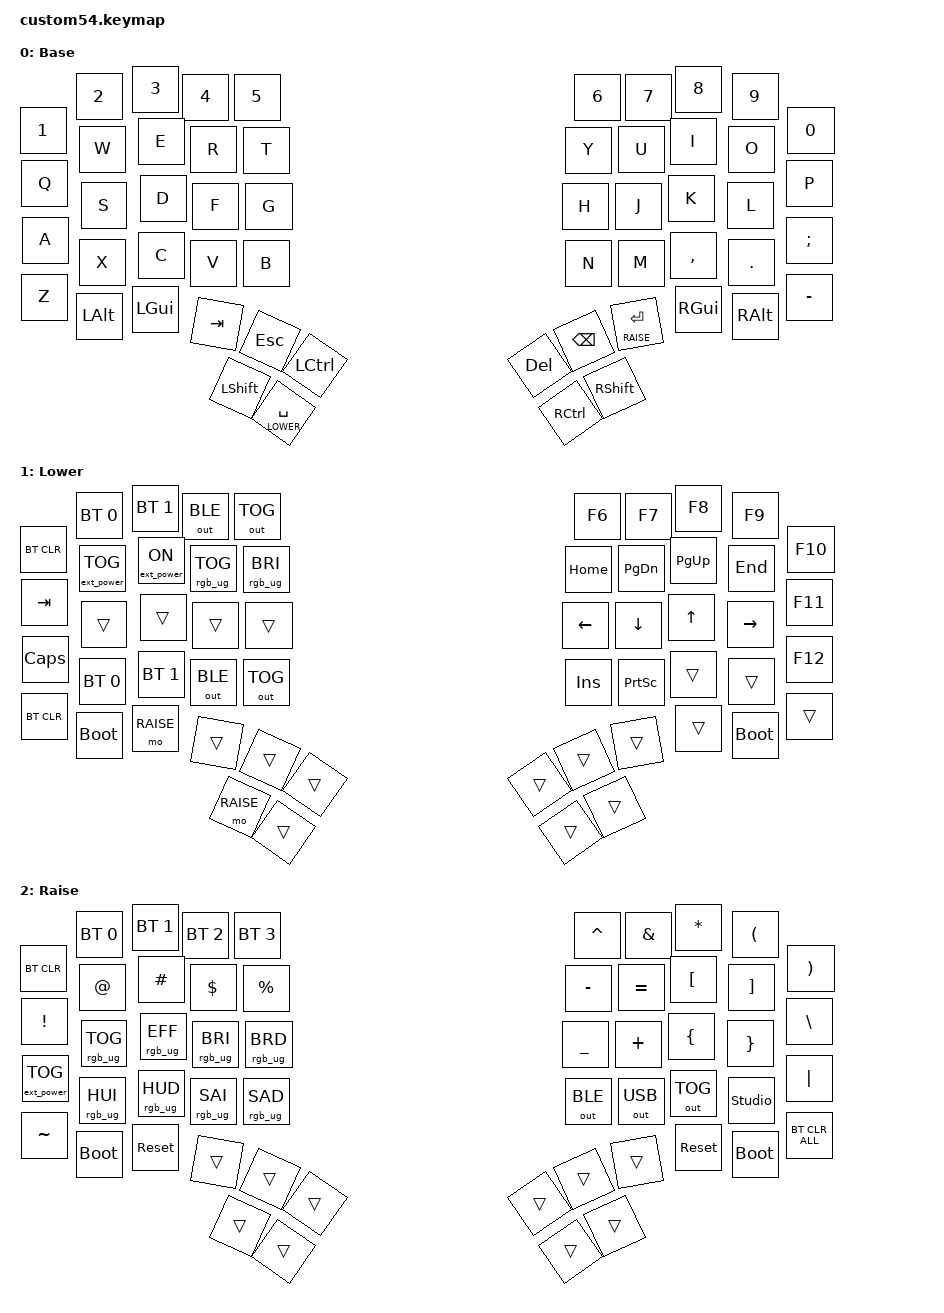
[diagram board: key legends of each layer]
#include <behaviors.dtsi>
#include <dt-bindings/zmk/keys.h>
#include <dt-bindings/zmk/bt.h>
#include <dt-bindings/zmk/rgb.h>
#include <dt-bindings/zmk/outputs.h>
#include <dt-bindings/zmk/ext_power.h>

#define DEFAULT 0
#define LOWER   1
#define RAISE   2

/ {
    combos {
        compatible = "zmk,combos";

        /* Combo nas duas pontas da fileira de numeros: 1 (pos 0) + 0 (pos 9) */
        combo_bootloader_num_ends {
            timeout-ms = <60>;
            key-positions = <0 9>;
            bindings = <&bootloader>;
        };

        /* Combo nas duas pontas da metade esquerda: 1 (pos 0) + 5 (pos 4) - para quando só a esquerda estiver plugada */
        combo_bootloader_left_num_ends {
            timeout-ms = <60>;
            key-positions = <0 4>;
            bindings = <&bootloader>;
        };
    };

    keymap {
        compatible = "zmk,keymap";

        default_layer {
            display-name = "Base";
            bindings = <
/* Row 0: Numbers */
&kp N1     &kp N2    &kp N3    &kp N4    &kp N5          &kp N6     &kp N7    &kp N8    &kp N9    &kp N0
/* Row 1: Top */
&kp Q      &kp W     &kp E     &kp R     &kp T           &kp Y      &kp U     &kp I     &kp O     &kp P
/* Row 2: Home */
&kp A      &kp S     &kp D     &kp F     &kp G           &kp H      &kp J     &kp K     &kp L     &kp SEMI
/* Row 3: Bottom */
&kp Z      &kp X     &kp C     &kp V     &kp B           &kp N      &kp M     &kp COMMA &kp DOT   &kp MINUS
/* Row 4: Extra bottom keys */
           &kp LALT  &kp LGUI                                       &kp RGUI  &kp RALT
/* Row 5: Thumb clusters */
&kp TAB    &kp ESC   &kp LCTRL &kp LSHFT &lt LOWER SPACE &lt RAISE RET &kp BSPC  &kp DEL   &kp RSHFT &kp RCTRL
            >;
        };

        lower_layer {
            display-name = "Lower";
            bindings = <
/* Row 0 */
&bt BT_CLR &bt BT_SEL 0    &bt BT_SEL 1    &out OUT_BLE    &out OUT_TOG      &kp F6     &kp F7    &kp F8    &kp F9    &kp F10
/* Row 1 */
&kp TAB    &ext_power EP_TOG &ext_power EP_ON &rgb_ug RGB_TOG &rgb_ug RGB_BRI   &kp HOME   &kp PG_DN &kp PG_UP &kp END   &kp F11
/* Row 2 */
&kp CAPS   &trans          &trans          &trans          &trans            &kp LEFT   &kp DOWN  &kp UP    &kp RIGHT &kp F12
/* Row 3 */
&bt BT_CLR &bt BT_SEL 0    &bt BT_SEL 1    &out OUT_BLE    &out OUT_TOG      &kp INS    &kp PSCRN &trans    &trans    &trans
/* Row 4 */
           &bootloader     &mo RAISE                                                    &trans     &bootloader
/* Row 5 */
&trans     &trans          &trans          &mo RAISE       &trans            &trans     &trans    &trans    &trans    &trans
            >;
        };

        raise_layer {
            display-name = "Raise";
            bindings = <
/* Row 0 */
&bt BT_CLR &bt BT_SEL 0    &bt BT_SEL 1    &bt BT_SEL 2    &bt BT_SEL 3      &kp CARET  &kp AMPS  &kp ASTRK &kp LPAR  &kp RPAR
/* Row 1 */
&kp EXCL   &kp AT          &kp HASH        &kp DLLR        &kp PRCNT         &kp MINUS  &kp EQUAL &kp LBKT  &kp RBKT  &kp BSLH
/* Row 2 */
&ext_power EP_TOG &rgb_ug RGB_TOG &rgb_ug RGB_EFF &rgb_ug RGB_BRI &rgb_ug RGB_BRD   &kp UNDER  &kp PLUS  &kp LBRC  &kp RBRC  &kp PIPE
/* Row 3 */
&kp TILDE  &rgb_ug RGB_HUI &rgb_ug RGB_HUD &rgb_ug RGB_SAI &rgb_ug RGB_SAD   &out OUT_BLE &out OUT_USB &out OUT_TOG &studio_unlock &bt BT_CLR_ALL
/* Row 4 */
           &bootloader     &sys_reset                                                   &sys_reset &bootloader
/* Row 5 */
&trans     &trans          &trans          &trans          &trans            &trans     &trans    &trans    &trans    &trans
            >;
        };
    };
};
